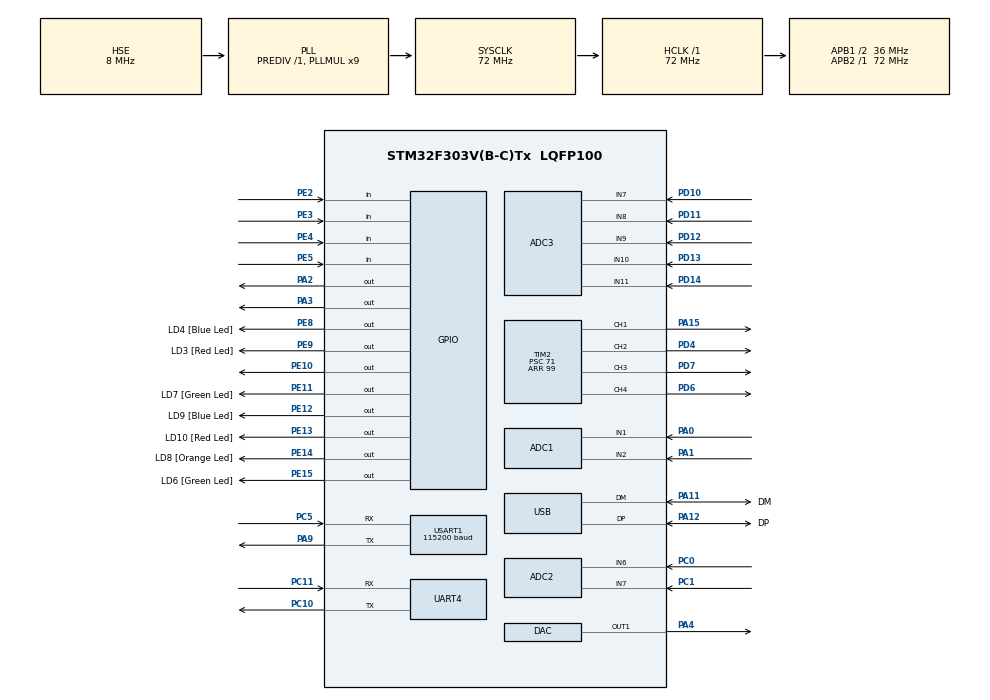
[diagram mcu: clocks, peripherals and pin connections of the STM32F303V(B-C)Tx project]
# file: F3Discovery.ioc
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ADC1.Channel-0\#ChannelRegularConversion=ADC_CHANNEL_1
ADC1.Channel-3\#ChannelRegularConversion=ADC_CHANNEL_2
ADC1.ClockPrescaler=ADC_CLOCK_ASYNC_DIV1
ADC1.ContinuousConvMode=DISABLE
ADC1.DMAContinuousRequests=DISABLE
ADC1.EOCSelection=ADC_EOC_SEQ_CONV
ADC1.EnableAnalogWatchDog3=false
ADC1.EnableInjectedConversion=ENABLE
ADC1.ExternalTrigConv=ADC_EXTERNALTRIGCONV_T8_TRGO
ADC1.MonitoredBy-3\#ChannelRegularConversion=__NULL
ADC1.NbrOfConversion=2
ADC1.NbrOfConversionFlag=1
ADC1.Offset-0\#ChannelRegularConversion=0
ADC1.Offset-3\#ChannelRegularConversion=0
ADC1.OffsetNumber-0\#ChannelRegularConversion=ADC_OFFSET_NONE
ADC1.OffsetNumber-3\#ChannelRegularConversion=ADC_OFFSET_NONE
ADC1.Rank-0\#ChannelRegularConversion=1
ADC1.Rank-3\#ChannelRegularConversion=2
ADC1.SamplingTime-0\#ChannelRegularConversion=ADC_SAMPLETIME_61CYCLES_5
ADC1.SamplingTime-3\#ChannelRegularConversion=ADC_SAMPLETIME_61CYCLES_5
ADC1.master=1
ADC2.Channel-0\#ChannelRegularConversion=ADC_CHANNEL_6
ADC2.Channel-1\#ChannelRegularConversion=ADC_CHANNEL_7
ADC2.ExternalTrigConv=ADC_EXTERNALTRIGCONV_T6_TRGO
ADC2.NbrOfConversion=2
ADC2.NbrOfConversionFlag=1
ADC2.Offset-0\#ChannelRegularConversion=0
ADC2.Offset-1\#ChannelRegularConversion=0
ADC2.OffsetNumber-0\#ChannelRegularConversion=ADC_OFFSET_NONE
ADC2.OffsetNumber-1\#ChannelRegularConversion=ADC_OFFSET_NONE
ADC2.Rank-0\#ChannelRegularConversion=1
ADC2.Rank-1\#ChannelRegularConversion=2
ADC2.SamplingTime-0\#ChannelRegularConversion=ADC_SAMPLETIME_61CYCLES_5
ADC2.SamplingTime-1\#ChannelRegularConversion=ADC_SAMPLETIME_61CYCLES_5
ADC2.SamplingTimeOPAMP-1\#ChannelRegularConversion=ADC_SAMPLETIME_7CYCLES_5
ADC3.Channel-0\#ChannelRegularConversion=ADC_CHANNEL_7
ADC3.Channel-1\#ChannelRegularConversion=ADC_CHANNEL_8
ADC3.Channel-2\#ChannelRegularConversion=ADC_CHANNEL_9
ADC3.Channel-3\#ChannelRegularConversion=ADC_CHANNEL_10
ADC3.Channel-4\#ChannelRegularConversion=ADC_CHANNEL_11
ADC3.ContinuousConvMode=ENABLE
ADC3.ExternalTrigConv=ADC_SOFTWARE_START
ADC3.NbrOfConversion=5
ADC3.NbrOfConversionFlag=1
ADC3.Offset-0\#ChannelRegularConversion=0
ADC3.Offset-1\#ChannelRegularConversion=0
ADC3.Offset-2\#ChannelRegularConversion=0
ADC3.Offset-3\#ChannelRegularConversion=0
ADC3.Offset-4\#ChannelRegularConversion=0
ADC3.OffsetNumber-0\#ChannelRegularConversion=ADC_OFFSET_NONE
ADC3.OffsetNumber-1\#ChannelRegularConversion=ADC_OFFSET_NONE
ADC3.OffsetNumber-2\#ChannelRegularConversion=ADC_OFFSET_NONE
ADC3.OffsetNumber-3\#ChannelRegularConversion=ADC_OFFSET_NONE
ADC3.OffsetNumber-4\#ChannelRegularConversion=ADC_OFFSET_NONE
ADC3.Rank-0\#ChannelRegularConversion=1
ADC3.Rank-1\#ChannelRegularConversion=2
ADC3.Rank-2\#ChannelRegularConversion=3
ADC3.Rank-3\#ChannelRegularConversion=4
ADC3.Rank-4\#ChannelRegularConversion=5
ADC3.SamplingTime-0\#ChannelRegularConversion=ADC_SAMPLETIME_181CYCLES_5
ADC3.SamplingTime-1\#ChannelRegularConversion=ADC_SAMPLETIME_181CYCLES_5
ADC3.SamplingTime-2\#ChannelRegularConversion=ADC_SAMPLETIME_181CYCLES_5
ADC3.SamplingTime-3\#ChannelRegularConversion=ADC_SAMPLETIME_181CYCLES_5
ADC3.SamplingTime-4\#ChannelRegularConversion=ADC_SAMPLETIME_181CYCLES_5
ADC3.SamplingTimeOPAMP-2\#ChannelRegularConversion=ADC_SAMPLETIME_61CYCLES_5
ADC3.SamplingTimeOPAMP-3\#ChannelRegularConversion=ADC_SAMPLETIME_61CYCLES_5
ADC3.SamplingTimeOPAMP-4\#ChannelRegularConversion=ADC_SAMPLETIME_61CYCLES_5
ADC3.master=1
DAC.DAC_Trigger=DAC_TRIGGER_T3_TRGO
Dma.ADC1.0.Direction=DMA_PERIPH_TO_MEMORY
Dma.ADC1.0.Instance=DMA1_Channel1
Dma.ADC1.0.MemDataAlignment=DMA_MDATAALIGN_WORD
Dma.ADC1.0.MemInc=DMA_MINC_ENABLE
Dma.ADC1.0.Mode=DMA_NORMAL
Dma.ADC1.0.PeriphDataAlignment=DMA_PDATAALIGN_WORD
Dma.ADC1.0.PeriphInc=DMA_PINC_DISABLE
Dma.ADC1.0.Priority=DMA_PRIORITY_VERY_HIGH
Dma.ADC2.2.Direction=DMA_PERIPH_TO_MEMORY
Dma.ADC2.2.Instance=DMA2_Channel1
Dma.ADC2.2.MemDataAlignment=DMA_MDATAALIGN_WORD
Dma.ADC2.2.MemInc=DMA_MINC_ENABLE
Dma.ADC2.2.Mode=DMA_NORMAL
Dma.ADC2.2.PeriphDataAlignment=DMA_PDATAALIGN_WORD
Dma.ADC2.2.PeriphInc=DMA_PINC_DISABLE
Dma.ADC2.2.Priority=DMA_PRIORITY_VERY_HIGH
Dma.ADC3.1.Direction=DMA_PERIPH_TO_MEMORY
Dma.ADC3.1.Instance=DMA2_Channel5
Dma.ADC3.1.MemDataAlignment=DMA_MDATAALIGN_WORD
Dma.ADC3.1.MemInc=DMA_MINC_ENABLE
Dma.ADC3.1.Mode=DMA_CIRCULAR
Dma.ADC3.1.PeriphDataAlignment=DMA_PDATAALIGN_WORD
Dma.ADC3.1.PeriphInc=DMA_PINC_DISABLE
Dma.ADC3.1.Priority=DMA_PRIORITY_HIGH
Dma.DAC_CH1.3.Direction=DMA_MEMORY_TO_PERIPH
Dma.DAC_CH1.3.Instance=DMA1_Channel3
Dma.DAC_CH1.3.MemDataAlignment=DMA_MDATAALIGN_WORD
Dma.DAC_CH1.3.MemInc=DMA_MINC_ENABLE
Dma.DAC_CH1.3.Mode=DMA_CIRCULAR
Dma.DAC_CH1.3.PeriphDataAlignment=DMA_PDATAALIGN_WORD
Dma.DAC_CH1.3.PeriphInc=DMA_PINC_DISABLE
Dma.DAC_CH1.3.Priority=DMA_PRIORITY_HIGH
Dma.Request0=ADC1
Dma.Request1=ADC3
Dma.Request2=ADC2
Dma.Request3=DAC_CH1
Mcu.Family=STM32F3
Mcu.Name=STM32F303V(B-C)Tx
Mcu.Package=LQFP100
NVIC.ADC3_IRQn=true\:0\:0\:false\:false\:true\:true\:true
NVIC.DMA1_Channel1_IRQn=true\:0\:0\:false\:false\:true\:false\:true
NVIC.DMA1_Channel3_IRQn=true\:0\:0\:false\:false\:true\:false\:true
NVIC.DMA2_Channel1_IRQn=true\:0\:0\:false\:false\:true\:false\:true
NVIC.DMA2_Channel5_IRQn=true\:0\:0\:false\:false\:true\:false\:true
NVIC.PriorityGroup=NVIC_PRIORITYGROUP_0
NVIC.TIM1_UP_TIM16_IRQn=true\:0\:0\:false\:false\:true\:true\:true
NVIC.TIM2_IRQn=true\:0\:0\:false\:false\:true\:true\:true
NVIC.TIM3_IRQn=true\:0\:0\:false\:false\:true\:true\:true
NVIC.TIM4_IRQn=true\:0\:0\:false\:false\:true\:true\:true
NVIC.TIM8_BRK_IRQn=true\:0\:0\:false\:false\:true\:true\:true
NVIC.TIM8_CC_IRQn=true\:0\:0\:false\:false\:true\:true\:true
NVIC.TIM8_TRG_COM_IRQn=true\:0\:0\:false\:false\:true\:true\:true
NVIC.TIM8_UP_IRQn=true\:0\:0\:false\:false\:true\:true\:true
NVIC.UART4_IRQn=true\:0\:0\:false\:false\:true\:true\:true
NVIC.USART1_IRQn=true\:0\:0\:false\:false\:true\:true\:true
NVIC.USB_LP_CAN_RX0_IRQn=true\:0\:0\:false\:false\:true\:false\:true
PA0.Mode=IN1-Single-Ended
PA0.Signal=ADC1_IN1
PA1.Mode=IN2-Single-Ended
PA1.Signal=ADC1_IN2
PA11.GPIO_Label=DM
PA11.Mode=Device
PA11.Signal=USB_DM
PA12.GPIO_Label=DP
PA12.Mode=Device
PA12.Signal=USB_DP
PA15.Signal=S_TIM2_CH1_ETR
PA2.Signal=GPIO_Output
PA3.Signal=GPIO_Output
PA4.Signal=COMP_DAC1_group
PA9.Mode=Asynchronous
PA9.Signal=USART1_TX
PC0.Signal=ADCx_IN6
PC1.Signal=ADCx_IN7
PC10.Mode=Asynchronous
PC10.Signal=UART4_TX
PC11.Mode=Asynchronous
PC11.Signal=UART4_RX
PC5.Mode=Asynchronous
PC5.Signal=USART1_RX
PD10.Signal=ADCx_IN7P
PD11.Signal=ADCx_IN8P
PD12.Signal=ADCx_IN9P
PD13.Signal=ADCx_IN10P
PD14.Signal=ADCx_IN11
PD4.Signal=S_TIM2_CH2
PD6.Signal=S_TIM2_CH4
PD7.Signal=S_TIM2_CH3
PE10.Signal=GPIO_Output
PE11.GPIO_Label=LD7 [Green Led]
PE11.GPIO_ModeDefaultOutputPP=GPIO_MODE_OUTPUT_PP
PE11.GPIO_PuPd=GPIO_NOPULL
PE11.GPIO_Speed=GPIO_SPEED_FREQ_LOW
PE11.Signal=GPIO_Output
PE12.GPIO_Label=LD9 [Blue Led]
PE12.GPIO_ModeDefaultOutputPP=GPIO_MODE_OUTPUT_PP
PE12.GPIO_PuPd=GPIO_NOPULL
PE12.GPIO_Speed=GPIO_SPEED_FREQ_LOW
PE12.Signal=GPIO_Output
PE13.GPIO_Label=LD10 [Red Led]
PE13.GPIO_ModeDefaultOutputPP=GPIO_MODE_OUTPUT_PP
PE13.GPIO_PuPd=GPIO_NOPULL
PE13.GPIO_Speed=GPIO_SPEED_FREQ_LOW
PE13.Signal=GPIO_Output
PE14.GPIO_Label=LD8 [Orange Led]
PE14.GPIO_ModeDefaultOutputPP=GPIO_MODE_OUTPUT_PP
PE14.GPIO_PuPd=GPIO_NOPULL
PE14.GPIO_Speed=GPIO_SPEED_FREQ_LOW
PE14.Signal=GPIO_Output
PE15.GPIO_Label=LD6 [Green Led]
PE15.GPIO_ModeDefaultOutputPP=GPIO_MODE_OUTPUT_PP
PE15.GPIO_PuPd=GPIO_NOPULL
PE15.GPIO_Speed=GPIO_SPEED_FREQ_LOW
PE15.Signal=GPIO_Output
PE2.Signal=GPIO_Input
PE3.Signal=GPIO_Input
PE4.Signal=GPIO_Input
PE5.Signal=GPIO_Input
PE8.GPIO_Label=LD4 [Blue Led]
PE8.GPIO_ModeDefaultOutputPP=GPIO_MODE_OUTPUT_PP
PE8.GPIO_PuPd=GPIO_NOPULL
PE8.GPIO_Speed=GPIO_SPEED_FREQ_LOW
PE8.Signal=GPIO_Output
PE9.GPIO_Label=LD3 [Red Led]
PE9.GPIO_ModeDefaultOutputPP=GPIO_MODE_OUTPUT_PP
PE9.GPIO_PuPd=GPIO_NOPULL
PE9.GPIO_Speed=GPIO_SPEED_FREQ_LOW
PE9.Signal=GPIO_Output
PF0-OSC_IN.GPIO_Label=OSC_IN
PF0-OSC_IN.Mode=HSE-External-Oscillator
PF0-OSC_IN.Signal=RCC_OSC_IN
PF1-OSC_OUT.GPIO_Label=OSC_OUT
PF1-OSC_OUT.Mode=HSE-External-Oscillator
PF1-OSC_OUT.Signal=RCC_OSC_OUT
ProjectManager.HeapSize=0x2000
ProjectManager.StackSize=0x4000
ProjectManager.TargetToolchain=MDK-ARM V5
RCC.AHBFreq_Value=72000000
RCC.APB1CLKDivider=RCC_HCLK_DIV2
RCC.APB1Freq_Value=36000000
RCC.APB1TimFreq_Value=72000000
RCC.APB2Freq_Value=72000000
RCC.APB2TimFreq_Value=72000000
RCC.CortexFreq_Value=72000000
RCC.HCLKFreq_Value=72000000
RCC.HSE_VALUE=8000000
RCC.HSI_VALUE=8000000
RCC.LSE_VALUE=32768
RCC.PLLMUL=RCC_PLL_MUL9
RCC.PRESCALERUSB=RCC_USBCLKSOURCE_PLL_DIV1_5
RCC.SYSCLKFreq_VALUE=72000000
RCC.SYSCLKSourceVirtual=RCC_SYSCLKSOURCE_PLLCLK
RCC.USBFreq_Value=48000000
SH.ADCx_IN10P.0=ADC3_IN10,IN10-Single-Ended
SH.ADCx_IN11.0=ADC3_IN11,IN11-Single-Ended
SH.ADCx_IN6.0=ADC2_IN6,IN6-Single-Ended
SH.ADCx_IN7.0=ADC2_IN7,IN7-Single-Ended
SH.ADCx_IN7P.0=ADC3_IN7,IN7-Single-Ended
SH.ADCx_IN8P.0=ADC3_IN8,IN8-Single-Ended
SH.ADCx_IN9P.0=ADC3_IN9,IN9-Single-Ended
SH.COMP_DAC1_group.0=DAC_OUT1,DAC_OUT1
SH.S_TIM2_CH1_ETR.0=TIM2_CH1,PWM Generation1 CH1
SH.S_TIM2_CH2.0=TIM2_CH2,PWM Generation2 CH2
SH.S_TIM2_CH3.0=TIM2_CH3,PWM Generation3 CH3
SH.S_TIM2_CH4.0=TIM2_CH4,PWM Generation4 CH4
TIM1.Period=999
TIM1.Prescaler=719
TIM2.Channel-PWM\ Generation1\ CH1=TIM_CHANNEL_1
TIM2.Channel-PWM\ Generation2\ CH2=TIM_CHANNEL_2
TIM2.Channel-PWM\ Generation3\ CH3=TIM_CHANNEL_3
TIM2.Channel-PWM\ Generation4\ CH4=TIM_CHANNEL_4
TIM2.Period=99
TIM2.Prescaler=71
TIM3.Period=9999
TIM3.Prescaler=7199
TIM3.TIM_MasterOutputTrigger=TIM_TRGO_UPDATE
TIM3.TIM_MasterSlaveMode=TIM_MASTERSLAVEMODE_DISABLE
TIM4.Period=19999
TIM4.Prescaler=7199
TIM6.Period=9999
TIM6.Prescaler=7199
TIM6.TIM_MasterOutputTrigger=TIM_TRGO_UPDATE
TIM7.Period=99
TIM7.Prescaler=71
TIM7.TIM_MasterOutputTrigger=TIM_TRGO_UPDATE
TIM8.AutoReloadPreload=TIM_AUTORELOAD_PRELOAD_ENABLE
TIM8.Period=9999
TIM8.Prescaler=7199
TIM8.TIM_MasterOutputTrigger=TIM_TRGO_UPDATE
TIM8.TIM_MasterOutputTrigger2=TIM_TRGO2_UPDATE
USART1.BaudRate=115200
USART1.VirtualMode-Asynchronous=VM_ASYNC
USB_DEVICE.CLASS_NAME_FS=CDC
USB_DEVICE.VirtualMode=Cdc
USB_DEVICE.VirtualModeFS=Cdc_FS
VP_TIM1_VS_ClockSourceINT.Mode=Internal
VP_TIM2_VS_ClockSourceINT.Mode=Internal
VP_TIM3_VS_ClockSourceINT.Mode=Internal
VP_TIM4_VS_ClockSourceINT.Mode=Internal
VP_TIM6_VS_ClockSourceINT.Mode=Enable_Timer
VP_TIM7_VS_ClockSourceINT.Mode=Enable_Timer
VP_TIM8_VS_ClockSourceINT.Mode=Internal
VP_USB_DEVICE_VS_USB_DEVICE_CDC_FS.Mode=CDC_FS
board=STM32F3DISCOVERY

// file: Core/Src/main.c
/* USER CODE BEGIN Header */
/**
  ******************************************************************************
  * @file           : main.c
  * @brief          : Main program body
  ******************************************************************************
  * @attention
  *
  * <h2><center>&copy; Copyright (c) 2021 STMicroelectronics.
  * All rights reserved.</center></h2>
  *
  * This software component is licensed by ST under BSD 3-Clause license,
  * the "License"; You may not use this file except in compliance with the
  * License. You may obtain a copy of the License at:
  *                        opensource.org/licenses/BSD-3-Clause
  *
  ******************************************************************************
  */
/* USER CODE END Header */
#include "main.h"
#include "adc.h"
#include "dac.h"
#include "dma.h"
#include "tim.h"
#include "usart.h"
#include "usb_device.h"
#include "gpio.h"

/* USER CODE BEGIN Includes */
#include "measure.h"
#include "digitalToAnalog.h"
#include "analogToDigital.h"
#include "usbd_cdc_if.h"
#include "math.h"

/* USER CODE END Includes */

void SystemClock_Config(void);

/* USER CODE BEGIN 0 */
#define ESP_uart huart4
uint8_t blink = 0;
uint32_t byte[4];
uint32_t tempAshk = 100;
int blinkNum=0,newTest = 0,tempADC1 = 0,tempADC2 = 0,stopMode,test1=0,test2=0,lastTemp=0;
int packetNumberWifi=0,packetNumberUsb=0,wifiDataLength=0,usbDataLength=0; //transmit vars
int writingSendDataIndex = 0,readingSendDataIndex = 0;
struct SendData sendData[2];
char wifiData[30],wifiChar;
enum ConnectionState{usb, wifi, notConnected};
enum ConnectionState connectionState = notConnected;
enum DataMode{noData,analog,digital,connection,resistor,capacitor,diode,current,dac,voltageOut};
enum DataMode dataMode = noData;
int ADTime,ADPacketPerSend;
int adcMeasureReady = 0 , adcAnalogReady = 0;

///analog vars
int analogFreq[4];
int analogSamples[4],analogSampleFreq[4],analogSampleFreqMax[2];
int analogBytes[4],analogBytesMax[2];
int analogDataReadyCh1=0,analogDataReadyCh2=0,analogDataNumberADC1=0,analogDataNumberADC2=0,analogOddNumberADC1=0,analogOddNumberADC2=0;
uint32_t analogByteADC1[1001],analogByteADC2[1001];

///digital vars
int digitalFreq[4],digitalFreqMax,digitalBytes[4],digitalBytesMax;
int digitalDataReady = 0;
uint8_t digitalByteCH1[1001],digitalByteCH2[1001],digitalByteCH3[1001],digitalByteCH4[1001];
int digitalIndex = 0;

//uint32_t temp[2] = {4095,0};

//
//led blink
void ledBlink(){
	if (blink == 0){
		HAL_GPIO_WritePin(GPIOE, GPIO_PIN_11|GPIO_PIN_15, GPIO_PIN_RESET);
		HAL_GPIO_TogglePin(GPIOE, GPIO_PIN_8);
		HAL_GPIO_TogglePin(GPIOE, GPIO_PIN_12);
	}
	if (blink == 1){
		HAL_GPIO_TogglePin(GPIOE, GPIO_PIN_8);
		HAL_GPIO_TogglePin(GPIOE, GPIO_PIN_12);
		HAL_GPIO_TogglePin(GPIOE, GPIO_PIN_9);
		HAL_GPIO_TogglePin(GPIOE, GPIO_PIN_13);
	}
	if (blink == 2){
		HAL_GPIO_TogglePin(GPIOE, GPIO_PIN_10);
		HAL_GPIO_TogglePin(GPIOE, GPIO_PIN_14);
		HAL_GPIO_TogglePin(GPIOE, GPIO_PIN_9);
		HAL_GPIO_TogglePin(GPIOE, GPIO_PIN_13);
	}
	if (blink == 3){
		HAL_GPIO_TogglePin(GPIOE, GPIO_PIN_10);
		HAL_GPIO_TogglePin(GPIOE, GPIO_PIN_14);
		HAL_GPIO_TogglePin(GPIOE, GPIO_PIN_11);
		HAL_GPIO_TogglePin(GPIOE, GPIO_PIN_15);
		blink = -1;
	}

	blink++;
}
//
//calculate analog and digital number of bytes per packet to be sent
void calcAnalogSampleFreq(){
	for (int i=0 ; i<4 ; i++){
		if (connectionState == usb){
			if(analogFreq[i] > 2500 && analogFreq[i] < 20001){
				analogSamples[i] = 10;
			}
			if(analogFreq[i] > 1000 && analogFreq[i] < 2501){
				analogSamples[i] = 20;
			}
			if(analogFreq[i] > 250 && analogFreq[i] < 1001){
				analogSamples[i] = 40;
			}
			if(analogFreq[i] < 251){
				analogSamples[i] = 200;
			}
			analogSampleFreq[i] = analogSamples[i]*analogFreq[i];
			analogBytes[i] = analogSampleFreq[i]/200;
			analogSampleFreq[i] = analogBytes[i]*200;
		}
		if (connectionState == wifi){
			if(analogFreq[i] > 25 && analogFreq[i] < 201){
				analogSamples[i] = 10;
			}
			if(analogFreq[i] < 26){
				analogSamples[i] = 20;
			}
			analogSampleFreq[i] = analogSamples[i]*analogFreq[i];
			analogBytes[i] = analogSampleFreq[i]/20;
			analogSampleFreq[i] = analogBytes[i]*20;
		}
	}
}
//
//set analog and digital timer event time
void setADtimer(TIM_HandleTypeDef *htim,int freq){
	uint32_t period,systemFrequency = 72000000;
	if (freq < 5000){
		htim->Instance->PSC = 1439;
		systemFrequency = 50000;
		period = systemFrequency / freq;
		htim->Instance->ARR = period-1;
	}
	else {
		htim->Instance->PSC = 0;
		period = systemFrequency / freq;
		htim->Instance->ARR = period-1;
	}
}
//
//usb and wifi transmit and led blink
void HAL_TIM_PeriodElapsedCallback(TIM_HandleTypeDef *htim){
	if (htim == &htim1) {

		if (blinkNum > 99){
				ledBlink();
				blinkNum = 0;
		}
		blinkNum++;

		///usb send
		if (connectionState == usb && sendData[readingSendDataIndex].readySend == 1){
				sendData[readingSendDataIndex].bytes[1] = packetNumberUsb+'0';
				CDC_Transmit_FS(sendData[readingSendDataIndex].bytes , sendData[readingSendDataIndex].length);
				packetNumberUsb++;
				packetNumberUsb = packetNumberUsb%10;
				sendData[readingSendDataIndex].readySend = 0;
				readingSendDataIndex++;
				readingSendDataIndex %= 2;
		}
		///wifi send
		if (blinkNum%10 == 0){
			if (connectionState == wifi && sendData[readingSendDataIndex].readySend == 1){
				sendData[readingSendDataIndex].bytes[1] = packetNumberWifi+'0';
				HAL_UART_Transmit_IT(&huart4,sendData[readingSendDataIndex].bytes , sendData[readingSendDataIndex].length);
				packetNumberWifi++;
				packetNumberWifi = packetNumberWifi%10;
				sendData[readingSendDataIndex].readySend = 0;
				readingSendDataIndex++;
				readingSendDataIndex %= 2;
			}
		}
	}
	if (htim == &htim8) {
		if(digitalDataReady == 0){
			digitalByteCH1[digitalIndex] = HAL_GPIO_ReadPin(GPIOE,GPIO_PIN_2);
			digitalByteCH2[digitalIndex] = HAL_GPIO_ReadPin(GPIOE,GPIO_PIN_3);
			digitalByteCH3[digitalIndex] = HAL_GPIO_ReadPin(GPIOE,GPIO_PIN_4);
			digitalByteCH4[digitalIndex] = HAL_GPIO_ReadPin(GPIOE,GPIO_PIN_5);
			digitalIndex++;
			if(digitalIndex == digitalBytesMax){
				digitalIndex = 0;
				digitalDataReady = 1;
			}
		}
		newTest++;
	}
	if (htim == &htim3) {
		lastTemp++;
	}
}

//
//incoming data handle
void handleIncomingData(char *data , uint32_t len , enum DataMode mode){

	switch(mode){
		case noData : {
			stopMode = data[2];
			if(stopMode == 1){ 	///voltage out1
				voltageOutStop(0);
			}
			else if(stopMode == 2){ ///voltage out2
				voltageOutStop(1);
			}
			else if(stopMode == 3){ ///dac out1
				dacStop(0);
			}
			else if(stopMode == 4){///dac out2
				dacStop(1);
			}
			else if(stopMode == 5){ ///analog
				HAL_TIM_Base_Stop_IT(&htim6);
				HAL_TIM_Base_Stop_IT(&htim8);
				analogDataReadyCh1=0;
				analogDataReadyCh2=0;
				analogDataNumberADC1=0;
				analogDataNumberADC2=0;
			}
			else if(stopMode == 6){ ///digital
				HAL_TIM_Base_Stop_IT(&htim8);
				digitalDataReady = 0;
				digitalIndex = 0;
			}
			writingSendDataIndex=0;
			readingSendDataIndex=0;
			sendData[0].readySend=0;
			sendData[1].readySend=0;
			dataMode = noData;
			break;
		}
		case analog : {
			union Convert convert;

			convert.char_temp[0] = data[2];
			convert.char_temp[1] = data[3];
			convert.char_temp[2] = data[4];
			convert.char_temp[3] = data[5];
			analogFreq[0] = convert.integer4_temp;

			convert.char_temp[0] = data[6];
			convert.char_temp[1] = data[7];
			convert.char_temp[2] = data[8];
			convert.char_temp[3] = data[9];
			analogFreq[1] = convert.integer4_temp;

			convert.char_temp[0] = data[10];
			convert.char_temp[1] = data[11];
			convert.char_temp[2] = data[12];
			convert.char_temp[3] = data[13];
			analogFreq[2] = convert.integer4_temp;

			convert.char_temp[0] = data[14];
			convert.char_temp[1] = data[15];
			convert.char_temp[2] = data[16];
			convert.char_temp[3] = data[17];
			analogFreq[3] = convert.integer4_temp;

			///calculate appropriate sample and frequencies*samples that is timer trigger freq
			calcAnalogSampleFreq();

			if(analogSampleFreq[0] > analogSampleFreq[1]){
				analogSampleFreqMax[0] = analogSampleFreq[0];
				analogBytesMax[0] = analogBytes[0];
			}
			else{
				analogSampleFreqMax[0] = analogSampleFreq[1];
				analogBytesMax[0] = analogBytes[1];
			}

			if(analogSampleFreq[2] > analogSampleFreq[3]){
				analogSampleFreqMax[1] = analogSampleFreq[2];
				analogBytesMax[1] = analogBytes[2];
			}
			else{
				analogSampleFreqMax[1] = analogSampleFreq[3];
				analogBytesMax[1] = analogBytes[3];
			}

			setADtimer(&htim8,analogSampleFreqMax[0]);
			setADtimer(&htim6,analogSampleFreqMax[1]);

			HAL_TIM_Base_Start(&htim8);
			HAL_TIM_Base_Start(&htim6);

			if(analogBytesMax[0]%2 == 0){
					HAL_ADC_Start_DMA(&hadc1, analogByteADC1, analogBytesMax[0]);
			}
			else if(analogBytesMax[0]%2 == 1){
				if(analogOddNumberADC1%2 == 0)
					HAL_ADC_Start_DMA(&hadc1, analogByteADC1, analogBytesMax[0]+1);
				else
					HAL_ADC_Start_DMA(&hadc1, analogByteADC1, analogBytesMax[0]-1);
			analogOddNumberADC1++;
			analogOddNumberADC1%=2;
			}

			if(analogBytesMax[1]%2 == 0){
					HAL_ADC_Start_DMA(&hadc2, analogByteADC2, analogBytesMax[1]);
			}
			else if(analogBytesMax[1]%2 == 1){
				if(analogOddNumberADC2%2 == 0)
					HAL_ADC_Start_DMA(&hadc2, analogByteADC2, analogBytesMax[1]+1);
				else
					HAL_ADC_Start_DMA(&hadc2, analogByteADC2, analogBytesMax[1]-1);
			analogOddNumberADC2++;
			analogOddNumberADC2%=2;
			}

			dataMode = analog;
			break;
		}
		case digital : {
			union Convert convert;

			convert.char_temp[0] = data[2];
			convert.char_temp[1] = data[3];
			convert.char_temp[2] = data[4];
			convert.char_temp[3] = data[5];
			digitalFreq[0] = convert.integer4_temp;

			convert.char_temp[0] = data[6];
			convert.char_temp[1] = data[7];
			convert.char_temp[2] = data[8];
			convert.char_temp[3] = data[9];
			digitalFreq[1] = convert.integer4_temp;

			convert.char_temp[0] = data[10];
			convert.char_temp[1] = data[11];
			convert.char_temp[2] = data[12];
			convert.char_temp[3] = data[13];
			digitalFreq[2] = convert.integer4_temp;

			convert.char_temp[0] = data[14];
			convert.char_temp[1] = data[15];
			convert.char_temp[2] = data[16];
			convert.char_temp[3] = data[17];
			digitalFreq[3] = convert.integer4_temp;

			///Find max freq digital and bytes and round freq
			digitalFreqMax = 0;
			for (int i=0 ; i < 4 ; i++){
				if (connectionState == wifi){
					digitalBytes[i] = digitalFreq[i]/10;
					digitalFreq[i] = digitalBytes[i]*10;
				}
				else if(connectionState == usb){
					digitalBytes[i] = digitalFreq[i]/100;
					digitalFreq[i] = digitalBytes[i]*100;
				}
				if (digitalFreqMax < digitalFreq[i]){
					digitalFreqMax = digitalFreq[i];
					digitalBytesMax = digitalBytes[i];
				}
			}

			setADtimer(&htim8,digitalFreqMax);

			HAL_TIM_Base_Start_IT(&htim8);

			dataMode = digital;
			break;
		}
		case connection : {
			dataMode = connection;
			break;
		}
		case resistor : {
			dataMode = resistor;
			uint8_t channel = data[2];
			resistorInit(channel);
			break;
		}
		case capacitor : {
			uint8_t channel = data[2];
			capacitorInit(channel);
			dataMode = capacitor;
			break;
		}
		case diode : {
			dataMode = diode;
			break;
		}
		case current : {
			dataMode = current;
			break;
		}
		case dac : {
			uint8_t channel = data[2];
			uint8_t waveType = data[3];
			float freq,pp_voltage,shift;

			union Convert convert;

			convert.char_temp[0] = data[4];
			convert.char_temp[1] = data[5];
			convert.char_temp[2] = data[6];
			convert.char_temp[3] = data[7];
			pp_voltage = convert.float_temp;

			convert.char_temp[0] = data[8];
			convert.char_temp[1] = data[9];
			convert.char_temp[2] = data[10];
			convert.char_temp[3] = data[11];
			shift = convert.float_temp;

			convert.char_temp[0] = data[12];
			convert.char_temp[1] = data[13];
			convert.char_temp[2] = data[14];
			convert.char_temp[3] = data[15];
			freq = convert.float_temp;

			dacInit(shift,freq,pp_voltage,waveType,channel);

			break;
		}
		case voltageOut : {
			uint8_t channel = data[2];
			float voltage;

			union Convert convert;

			convert.char_temp[0] = data[3];
			convert.char_temp[1] = data[4];
			convert.char_temp[2] = data[5];
			convert.char_temp[3] = data[6];
			voltage = convert.float_temp;

			voltageOutInit(voltage , channel);
			break;
		}
	}
}
//
//incoming data check
void checkForIncomingData(char *data , uint32_t len , enum ConnectionState state){
//////wifi receive data
	if (state == wifi){
		if(wifiDataLength == 3 && data[0] == 'B' && data[1] == 'y' && data[2] == 'e'){
			connectionState = notConnected;
			dataMode = noData;
			writingSendDataIndex=0;
			readingSendDataIndex=0;
			sendData[0].readySend=0;
			sendData[1].readySend=0;
			wifiDataLength = 0;
			packetNumberWifi = 0;
		}
		else if(wifiDataLength == 6 && data[0] == 's' && data[1] == 's' && data[3] == 'e' && data[4] == 'n' && data[5] == 'd'){
			handleIncomingData(data,len,noData);
		  wifiDataLength = 0;
			packetNumberWifi = 0;
		}
		else if(wifiDataLength == 5 && data[0] == 'H' && data[1] == 'e' && data[2] == 'l' && data[3] == 'l' && data[4] == 'o'){
			connectionState = wifi;
			wifiDataLength = 0;
			packetNumberWifi = 0;
		}
		else if(wifiDataLength == 6 && data[0] == 's' && data[1] == 'm' && data[2] == 'd' && data[3] == 'e' && data[4] == 'n' && data[5] == 'd'){
			handleIncomingData(data,len,diode);
		  wifiDataLength = 0;
			packetNumberWifi = 0;
		}
		else if(wifiDataLength == 6 && data[0] == 's' && data[1] == 'm' && data[2] == 'c' && data[3] == 'e' && data[4] == 'n' && data[5] == 'd'){
			handleIncomingData(data,len,connection);
		  wifiDataLength = 0;
			packetNumberWifi = 0;
		}
		else if(wifiDataLength == 5 && data[0] == 's' && data[1] == 'i' && data[2] == 'e' && data[3] == 'n' && data[4] == 'd'){
			handleIncomingData(data,len,current);
		  wifiDataLength = 0;
			packetNumberWifi = 0;
		}
		else if(wifiDataLength == 6 && data[0] == 's' && data[1] == 'r' && data[3] == 'e' && data[4] == 'n' && data[5] == 'd'){
			handleIncomingData(data,len,resistor);
		  wifiDataLength = 0;
			packetNumberWifi = 0;
		}
		else if(wifiDataLength == 6 && data[0] == 's' && data[1] == 'c' && data[3] == 'e' && data[4] == 'n' && data[5] == 'd'){
			handleIncomingData(data,len,capacitor);
		  wifiDataLength = 0;
			packetNumberWifi = 0;
		}
		else if(wifiDataLength == 21 && data[0] == 's' && data[1] == 'a' && data[18] == 'e' && data[19] == 'n' && data[20] == 'd'){
			handleIncomingData(data,len,analog);
		  wifiDataLength = 0;
			packetNumberWifi = 0;
		}
		else if(wifiDataLength == 21 && data[0] == 's' && data[1] == 'd' && data[18] == 'e' && data[19] == 'n' && data[20] == 'd'){
			handleIncomingData(data,len,digital);
		  wifiDataLength = 0;
			packetNumberWifi = 0;
		}
		else if(wifiDataLength == 10 && data[0] == 's' && data[1] == 'v' && data[7] == 'e' && data[8] == 'n' && data[9] == 'd'){
			handleIncomingData(data,len,voltageOut);
		  wifiDataLength = 0;
			packetNumberWifi = 0;
		}
		else if(wifiDataLength == 19&& data[0] == 's' && data[1] == 'w' && data[16] == 'e' && data[17] == 'n' && data[18] == 'd'){
			handleIncomingData(data,len,dac);
		  wifiDataLength = 0;
			packetNumberWifi = 0;
		}
		else if(data[0] != 'H' && data[0] != 'B' && data[0] != 's'){
			wifiDataLength = 0;
		}
		else if(wifiDataLength > 20){
			wifiDataLength = 0;
		}
	}

//////usb receive data
	else if(state == usb){
		if(data[0] == 'H' && data[1] == 'e' && data[2] == 'l' && data[3] == 'l' && data[4] == 'o'){
				CDC_Transmit_FS("received" , 8);
				connectionState = usb;
		}
		else if(data[0] == 'B' && data[1] == 'y' && data[2] == 'e'){
			packetNumberUsb = 0;
		}
		else if(len == 6 && data[0] == 's' && data[1] == 's' && data[3] == 'e' && data[4] == 'n' && data[5] == 'd'){
			handleIncomingData(data,len,noData);
		  packetNumberUsb = 0;
		}
		else if(len == 6 && data[0] == 's' && data[1] == 'm' && data[2] == 'd' && data[3] == 'e' && data[4] == 'n' && data[5] == 'd'){
			handleIncomingData(data,len,diode);
		  packetNumberUsb = 0;
		}
		else if(len == 6 && data[0] == 's' && data[1] == 'm' && data[2] == 'c' && data[3] == 'e' && data[4] == 'n' && data[5] == 'd'){
			handleIncomingData(data,len,connection);
		  packetNumberUsb = 0;
		}
		else if(len == 5 && data[0] == 's' && data[1] == 'i' && data[2] == 'e' && data[3] == 'n' && data[4] == 'd'){
			handleIncomingData(data,len,current);
		  packetNumberUsb = 0;
		}
		else if(len == 6 && data[0] == 's' && data[1] == 'r' && data[3] == 'e' && data[4] == 'n' && data[5] == 'd'){
			handleIncomingData(data,len,resistor);
		  packetNumberUsb = 0;
		}
		else if(len == 6 && data[0] == 's' && data[1] == 'c' && data[3] == 'e' && data[4] == 'n' && data[5] == 'd'){
			handleIncomingData(data,len,capacitor);
		  packetNumberUsb = 0;
		}
		else if(len == 21 && data[0] == 's' && data[1] == 'a' && data[18] == 'e' && data[19] == 'n' && data[20] == 'd'){
			handleIncomingData(data,len,analog);
		  packetNumberUsb = 0;
		}
		else if(len == 21 && data[0] == 's' && data[1] == 'd' && data[18] == 'e' && data[19] == 'n' && data[20] == 'd'){
			handleIncomingData(data,len,digital);
		  packetNumberUsb = 0;
		}
		else if(len == 10 && data[0] == 's' && data[1] == 'v' && data[7] == 'e' && data[8] == 'n' && data[9] == 'd'){
			handleIncomingData(data,len,voltageOut);
		  packetNumberUsb = 0;
		}
		else if(len == 19&& data[0] == 's' && data[1] == 'w' && data[16] == 'e' && data[17] == 'n' && data[18] == 'd'){
			handleIncomingData(data,len,dac);
		  packetNumberUsb = 0;
		}
	}
}

//
//usb data
void CDC_ReceiveCallBack(uint8_t *buf,uint32_t len){
	checkForIncomingData(buf,len,usb);
}

//
//esp data
void HAL_UART_RxCpltCallback(UART_HandleTypeDef *huart){
	if(huart == &huart4){
		wifiData[wifiDataLength] = wifiChar;
		wifiDataLength++;
		checkForIncomingData(wifiData,wifiDataLength,wifi);
		HAL_UART_Receive_IT(&huart4,&wifiChar,1);
	}
}

//
//ADC callback
void HAL_ADC_ConvCpltCallback(ADC_HandleTypeDef* hadc){

	if (hadc == &hadc1){
		analogDataReadyCh1 = 1;
		tempADC1++;
	}
	else if(hadc == &hadc2){
		analogDataReadyCh2 = 1;
		tempADC2++;
	}
	else if(hadc == &hadc3&& dataMode != digital && dataMode != analog && dataMode != noData){
		adcMeasureReady = 1;

	}
}
//
/* USER CODE END 0 */

int main(void)
{

  /* MCU Configuration--------------------------------------------------------*/

  /* Reset of all peripherals, Initializes the Flash interface and the Systick. */
  HAL_Init();

  /* Configure the system clock */
  SystemClock_Config();

  /* Initialize all configured peripherals */
  MX_GPIO_Init();
  MX_DMA_Init();
  MX_TIM1_Init();
  MX_ADC1_Init();
  MX_TIM2_Init();
  MX_USB_DEVICE_Init();
  MX_DAC_Init();
  MX_TIM3_Init();
  MX_USART1_UART_Init();
  MX_UART4_Init();
  MX_ADC3_Init();
  MX_TIM4_Init();
  MX_TIM8_Init();
  MX_ADC2_Init();
  MX_TIM6_Init();
  MX_TIM7_Init();
  /* USER CODE BEGIN 2 */
	HAL_TIM_Base_Start_IT(&htim1);
	HAL_TIM_Base_Start_IT(&htim4);
	//HAL_TIM_Base_Start_IT(&htim8);

	HAL_TIM_Base_Start_IT(&htim2);
	HAL_TIM_PWM_Start(&htim2,TIM_CHANNEL_1);
	HAL_TIM_PWM_Start(&htim2,TIM_CHANNEL_2);
	HAL_TIM_PWM_Start(&htim2,TIM_CHANNEL_3);
	HAL_TIM_PWM_Start(&htim2,TIM_CHANNEL_4);
	htim2.Instance->CCR1 =  50;
	htim2.Instance->CCR2 =  99;
	htim2.Instance->CCR3 =  20;
	htim2.Instance->CCR4 =  50;

	HAL_UART_Receive_IT(&huart4,&wifiChar,1);

	makeWaveDac(&hdac,DAC_CHANNEL_1,&htim3,rect,64,128);

	//HAL_TIM_Base_Start_IT(&htim3);
	//tempAshk = value_dac16[10];
	//HAL_DAC_Start_DMA(&hdac, DAC_CHANNEL_1, (uint32_t *)value_dac16 , 1, DAC_ALIGN_12B_R);

	//////init default value

  /* USER CODE END 2 */

  /* Infinite loop */
  /* USER CODE BEGIN WHILE */
		//HAL_TIM_Base_Stop_IT(&htim1);

		//(&htim8)->Instance->PSC = 719;
		//(&htim3)->Init.Period = 9999;
		//(&htim3)->Instance->ARR = 9999;
		//__HAL_TIM_CLEAR_IT(&htim3 ,TIM_IT_UPDATE);
		//HAL_TIM_Base_Start_IT(&htim3);

  while (1)
  {
		//startAdcInput();
		//makeWaveDac(&hdac , DAC_CHANNEL_1 , sinusoidal);

		if(dataMode == analog){
			int ch1Div,ch2Div,ch3Div,ch4Div;
			int ch1Base,ch2Base,ch3Base,ch4Base;
			int length;

			if(analogDataReadyCh1 == 1 || analogDataReadyCh2 == 1){
				ch1Div = lroundf((float)analogBytesMax[0]/(float)analogBytes[0]);
				ch2Div = lroundf((float)analogBytesMax[0]/(float)analogBytes[1]);
				ch3Div = lroundf((float)analogBytesMax[1]/(float)analogBytes[2]);
				ch4Div = lroundf((float)analogBytesMax[1]/(float)analogBytes[3]);

				analogBytes[0] = analogBytesMax[0]/ch1Div;
				analogBytes[1] = analogBytesMax[0]/ch2Div;
				analogBytes[2] = analogBytesMax[1]/ch3Div;
				analogBytes[3] = analogBytesMax[1]/ch4Div;

				ch1Base = 4;
				ch2Base = ch1Base+analogBytes[0]*4+2; //channel byteNumber
				ch3Base = ch2Base+analogBytes[1]*4+2; //channe2 byteNumber
				ch4Base = ch3Base+analogBytes[2]*4+2; //channe3 byteNumber

				length = analogBytes[0]*4+analogBytes[1]*4+analogBytes[2]*4+analogBytes[3]*4;
				length += 13; //this 13 is for s,e,n,d,packetNumber,channel byteNumber

			}

			if(analogDataReadyCh1 == 1){
				uint16_t analogByteADC1Ch2[501];
				uint16_t analogByteADC1Ch1[501];
				for(int i=0 ; i<1000 ; i++){
						if(i%2 == 0)
							analogByteADC1Ch1[i/2] = analogByteADC1[i];
						else
							analogByteADC1Ch2[i/2] = analogByteADC1[i];
					}
				analogDataReadyCh1=0;

				if(analogDataNumberADC1 < 3){
					if(analogBytesMax[0]%2 == 0){
					HAL_ADC_Start_DMA(&hadc1, analogByteADC1, analogBytesMax[0]);
					}
					else if(analogBytesMax[0]%2 == 1){
						if(analogOddNumberADC1%2 == 0)
							HAL_ADC_Start_DMA(&hadc1, analogByteADC1, analogBytesMax[0]+1);
					else
						HAL_ADC_Start_DMA(&hadc1, analogByteADC1, analogBytesMax[0]-1);
					analogOddNumberADC1++;
					analogOddNumberADC1%=2;
					}
			}

				if(analogDataNumberADC1 < 4){
					union Convert convert;

					if (sendData[writingSendDataIndex].readySend == 0){

						convert.integer2_temp = analogBytes[0]*4;
						sendData[writingSendDataIndex].bytes[ch1Base-2] = convert.char_temp[0];
						sendData[writingSendDataIndex].bytes[ch1Base-1] = convert.char_temp[1];

						convert.integer2_temp = analogBytes[1]*4;
						sendData[writingSendDataIndex].bytes[ch2Base-2] = convert.char_temp[0];
						sendData[writingSendDataIndex].bytes[ch2Base-1] = convert.char_temp[1];

						///////ADC1 set sending data index variables
						int index = analogBytesMax[0];
						int channel1Index = (analogDataNumberADC1*analogBytes[0])/2;
						int channel2Index = (analogDataNumberADC1*analogBytes[1])/2;
						if (index%2 == 0) index/=2;
						else if(analogDataNumberADC1%2 == 0) index=(index+1)/2;
						else if(analogDataNumberADC1%2 == 1){ index=(index-1)/2; channel1Index+=1; channel2Index+=1;}
						test1++;

						for(int i=0 ; i < index ; i++){ ///this is for adc1 channel 1
								if((channel1Index+i)%ch1Div == 0){
									convert.integer2_temp = analogByteADC1Ch1[i];
									sendData[writingSendDataIndex].bytes[ch1Base+2*(channel1Index+i)/ch1Div]   = convert.char_temp[0];
									sendData[writingSendDataIndex].bytes[ch1Base+2*(channel1Index+i)/ch1Div+1] = convert.char_temp[1];
								}
						}
						for(int i=0 ; i < index ; i++){ ///this is for adc1 channel 2
								if((channel2Index+i)%ch2Div == 0){
									convert.integer2_temp = analogByteADC1Ch2[i];
									sendData[writingSendDataIndex].bytes[ch2Base+2*(channel2Index+i)/ch2Div] = convert.char_temp[0];
									sendData[writingSendDataIndex].bytes[ch2Base+2*(channel2Index+i)/ch2Div+1] = convert.char_temp[1];
								}
						}
				}

					analogDataNumberADC1++;
				}
			}

			if(analogDataReadyCh2 == 1){
				uint16_t analogByteADC2Ch1[501];
				uint16_t analogByteADC2Ch2[501];
				for(int i=0 ; i<1000 ; i++){
					if(i%2 == 0)
						analogByteADC2Ch1[i/2] = analogByteADC2[i];
				else
						analogByteADC2Ch2[i/2] = analogByteADC2[i];
				}
				analogDataReadyCh2 = 0;

				if(analogDataNumberADC2 < 3){
					if(analogBytesMax[1]%2 == 0){
								HAL_ADC_Start_DMA(&hadc2, analogByteADC2, analogBytesMax[1]);
						}
						else if(analogBytesMax[1]%2 == 1){
							if(analogOddNumberADC2%2 == 0)
								HAL_ADC_Start_DMA(&hadc2, analogByteADC2, analogBytesMax[1]+1);
						else
							HAL_ADC_Start_DMA(&hadc2, analogByteADC2, analogBytesMax[1]-1);
						analogOddNumberADC2++;
						analogOddNumberADC2%=2;
						}
				}

				if(analogDataNumberADC2 < 4){
					union Convert convert;

					if (sendData[writingSendDataIndex].readySend == 0){

						convert.integer2_temp = analogBytes[2]*4;
						sendData[writingSendDataIndex].bytes[ch3Base-2] = convert.char_temp[0];
						sendData[writingSendDataIndex].bytes[ch3Base-1] = convert.char_temp[1];

						convert.integer2_temp = analogBytes[3]*4;
						sendData[writingSendDataIndex].bytes[ch4Base-2] = convert.char_temp[0];
						sendData[writingSendDataIndex].bytes[ch4Base-1] = convert.char_temp[1];

						///////ADC2 set sending data index variables
						int index = analogBytesMax[1];
						int channel3Index = analogDataNumberADC2*analogBytes[2]/2;
						int channel4Index = analogDataNumberADC2*analogBytes[3]/2;
						if (index%2 == 0) index/=2;
						else if(analogDataNumberADC2%2 == 0) index=(index+1)/2;
						else if(analogDataNumberADC2%2 == 1){ index=(index-1)/2; channel3Index+=1; channel4Index+=1;}
						test2++;

						for(int i=0 ; i < index ; i++){///this is for adc2 channel 1
								if((channel3Index+i)%ch3Div == 0){
									convert.integer2_temp = analogByteADC2Ch1[i];
									sendData[writingSendDataIndex].bytes[ch3Base+2*(channel3Index+i)/ch3Div]   = convert.char_temp[0];
									sendData[writingSendDataIndex].bytes[ch3Base+2*(channel3Index+i)/ch3Div+1] = convert.char_temp[1];
								}
						}
						for(int i=0 ; i < index ; i++){///this is for adc2 channel 2
								if((channel4Index+i)%ch4Div == 0){
									convert.integer2_temp = analogByteADC2Ch2[i];
									sendData[writingSendDataIndex].bytes[ch4Base+2*(channel4Index+i)/ch4Div]   = convert.char_temp[0];
									sendData[writingSendDataIndex].bytes[ch4Base+2*(channel4Index+i)/ch4Div+1] = convert.char_temp[1];
								}
						}
				}

				analogDataNumberADC2++;
				}
			}

			if(analogDataNumberADC1 == 4 && analogDataNumberADC2 == 4){
				if (sendData[writingSendDataIndex].readySend == 0){
						sendData[writingSendDataIndex].length = length;
						sendData[writingSendDataIndex].bytes[0] = 's';
						sendData[writingSendDataIndex].bytes[length-3] = 'e';
						sendData[writingSendDataIndex].bytes[length-2] = 'n';
						sendData[writingSendDataIndex].bytes[length-1] = 'd';
						sendData[writingSendDataIndex].readySend = 1;
						writingSendDataIndex++;
						writingSendDataIndex %= 2;
						analogDataNumberADC1 = 0;
						analogDataNumberADC2 = 0;

						if(analogBytesMax[0]%2 == 0){
							HAL_ADC_Start_DMA(&hadc1, analogByteADC1, analogBytesMax[0]);
						}
						else if(analogBytesMax[0]%2 == 1){
							if(analogOddNumberADC1%2 == 0)
								HAL_ADC_Start_DMA(&hadc1, analogByteADC1, analogBytesMax[0]+1);
						else
								HAL_ADC_Start_DMA(&hadc1, analogByteADC1, analogBytesMax[0]-1);
								analogOddNumberADC1++;
								analogOddNumberADC1%=2;
							}

						if(analogBytesMax[1]%2 == 0){
							HAL_ADC_Start_DMA(&hadc2, analogByteADC2, analogBytesMax[1]);
						}
						else if(analogBytesMax[1]%2 == 1){
							if(analogOddNumberADC2%2 == 0)
								HAL_ADC_Start_DMA(&hadc2, analogByteADC2, analogBytesMax[1]+1);
						else
							HAL_ADC_Start_DMA(&hadc2, analogByteADC2, analogBytesMax[1]-1);
						analogOddNumberADC2++;
						analogOddNumberADC2%=2;
						}

				}
			}
		}

		else if(dataMode == digital){
			union Convert convert;
			uint8_t digitalByteCH1Cpy[1001],digitalByteCH2Cpy[1001],digitalByteCH3Cpy[1001],digitalByteCH4Cpy[1001];

			///copy data digital and release arrays
			if(digitalDataReady == 1){
				for(int i=0 ; i < digitalBytesMax ; i++){
							digitalByteCH1Cpy[i] = digitalByteCH1[i];
				}
				for(int i=0 ; i < digitalBytesMax ; i++){
							digitalByteCH2Cpy[i] = digitalByteCH2[i];
				}
				for(int i=0 ; i < digitalBytesMax ; i++){
							digitalByteCH3Cpy[i] = digitalByteCH3[i];
				}
				for(int i=0 ; i < digitalBytesMax ; i++){
							digitalByteCH4Cpy[i] = digitalByteCH4[i];
				}
				digitalDataReady = 0;

				int ch1Div = lroundf((float)digitalBytesMax/(float)digitalBytes[0]);
				int ch2Div = lroundf((float)digitalBytesMax/(float)digitalBytes[1]);
				int ch3Div = lroundf((float)digitalBytesMax/(float)digitalBytes[2]);
				int ch4Div = lroundf((float)digitalBytesMax/(float)digitalBytes[3]);

				digitalBytes[0] = digitalBytesMax/ch1Div;
				digitalBytes[1] = digitalBytesMax/ch2Div;
				digitalBytes[2] = digitalBytesMax/ch3Div;
				digitalBytes[3] = digitalBytesMax/ch4Div;
				int ch1Base = 4;
				int ch2Base = ch1Base+digitalBytes[0]+2; //channel2 byteNumber
				int ch3Base = ch2Base+digitalBytes[1]+2; //channel3 byteNumber
				int ch4Base = ch3Base+digitalBytes[2]+2; //channel4 byteNumber

				int length = digitalBytes[0]+digitalBytes[1]+digitalBytes[2]+digitalBytes[3];
				length += 13; //this 13 is for s,e,n,d,packetNumber,channel byteNumber

				if (sendData[writingSendDataIndex].readySend == 0){
				sendData[writingSendDataIndex].length = length;
				sendData[writingSendDataIndex].bytes[0] = 's';
				sendData[writingSendDataIndex].bytes[length-3] = 'e';
				sendData[writingSendDataIndex].bytes[length-2] = 'n';
				sendData[writingSendDataIndex].bytes[length-1] = 'd';

				convert.integer2_temp = digitalBytes[0];
				sendData[writingSendDataIndex].bytes[ch1Base-2] = convert.char_temp[0];
				sendData[writingSendDataIndex].bytes[ch1Base-1] = convert.char_temp[1];

				convert.integer2_temp = digitalBytes[1];
				sendData[writingSendDataIndex].bytes[ch2Base-2] = convert.char_temp[0];
				sendData[writingSendDataIndex].bytes[ch2Base-1] = convert.char_temp[1];

				convert.integer2_temp = digitalBytes[2];
				sendData[writingSendDataIndex].bytes[ch3Base-2] = convert.char_temp[0];
				sendData[writingSendDataIndex].bytes[ch3Base-1] = convert.char_temp[1];

				convert.integer2_temp = digitalBytes[3];
				sendData[writingSendDataIndex].bytes[ch4Base-2] = convert.char_temp[0];
				sendData[writingSendDataIndex].bytes[ch4Base-1] = convert.char_temp[1];

				for(int i=0 ; i < digitalBytesMax ; i++){
						if(i%ch1Div == 0){
							sendData[writingSendDataIndex].bytes[ch1Base+i/ch1Div] = digitalByteCH1Cpy[i];
						}
				}
				for(int i=0 ; i < digitalBytesMax ; i++){
						if(i%ch2Div == 0){
							sendData[writingSendDataIndex].bytes[ch2Base+i/ch2Div] = digitalByteCH2Cpy[i];
						}
				}
				for(int i=0 ; i < digitalBytesMax ; i++){
						if(i%ch3Div == 0){
							sendData[writingSendDataIndex].bytes[ch3Base+i/ch3Div] = digitalByteCH3Cpy[i];
						}
				}
				for(int i=0 ; i < digitalBytesMax ; i++){
						if(i%ch4Div == 0){
							sendData[writingSendDataIndex].bytes[ch4Base+i/ch4Div] = digitalByteCH4Cpy[i];
						}
				}
				sendData[writingSendDataIndex].readySend = 1;
				writingSendDataIndex++;
				writingSendDataIndex %= 2;
			}
			}
			HAL_Delay(1);
		}
		else if(dataMode == connection){
			uint16_t adcValue = connectionCheck(&hadc3);

			char tempData[7];
			tempData[0] = 's';
			tempData[4] = 'e';
			tempData[5] = 'n';
			tempData[6] = 'd';

			union Convert convert;
			convert.integer2_temp = adcValue;
			tempData[2] = convert.char_temp[0];
			tempData[3] = convert.char_temp[1];

			if (sendData[writingSendDataIndex].readySend == 0){
				sendData[writingSendDataIndex].length = 7;
				//sendData[writingSendDataIndex].bytes = tempData;
				memcpy(sendData[writingSendDataIndex].bytes , tempData , sendData[writingSendDataIndex].length);
				sendData[writingSendDataIndex].readySend = 1;
				writingSendDataIndex++;
				writingSendDataIndex %= 2;
			}

			HAL_Delay(100);

		}
		else if(dataMode == resistor){
			uint16_t adcValue = resistorCheck(&hadc3);

			char tempData[7];
			tempData[0] = 's';
			tempData[4] = 'e';
			tempData[5] = 'n';
			tempData[6] = 'd';

			union Convert convert;
			convert.integer2_temp = adcValue;
			tempData[2] = convert.char_temp[0];
			tempData[3] = convert.char_temp[1];

			if (sendData[writingSendDataIndex].readySend == 0){
				sendData[writingSendDataIndex].length = 7;
				//sendData[writingSendDataIndex].bytes = tempData;
				memcpy(sendData[writingSendDataIndex].bytes , tempData , sendData[writingSendDataIndex].length);
				sendData[writingSendDataIndex].readySend = 1;
				writingSendDataIndex++;
				writingSendDataIndex %= 2;
			}

			HAL_Delay(5000);
		}
		else if(dataMode == capacitor){
			uint16_t adcValue = capacitorCheck(&hadc3);

			char tempData[7];
			tempData[0] = 's';
			tempData[4] = 'e';
			tempData[5] = 'n';
			tempData[6] = 'd';

			union Convert convert;
			convert.integer2_temp = adcValue;
			tempData[2] = convert.char_temp[0];
			tempData[3] = convert.char_temp[1];

			if (sendData[writingSendDataIndex].readySend == 0){
				sendData[writingSendDataIndex].length = 7;
				//sendData[writingSendDataIndex].bytes = tempData;
				memcpy(sendData[writingSendDataIndex].bytes , tempData , sendData[writingSendDataIndex].length);
				sendData[writingSendDataIndex].readySend = 1;
				writingSendDataIndex++;
				writingSendDataIndex %= 2;
			}

			HAL_Delay(5000);
		}
		else if(dataMode == diode){
			uint16_t adcValue = diodeCheck(&hadc3);

			char tempData[7];
			tempData[0] = 's';
			tempData[4] = 'e';
			tempData[5] = 'n';
			tempData[6] = 'd';

			union Convert convert;
			convert.integer2_temp = adcValue;
			tempData[2] = convert.char_temp[0];
			tempData[3] = convert.char_temp[1];

			if (sendData[writingSendDataIndex].readySend == 0){
				sendData[writingSendDataIndex].length = 7;
				//sendData[writingSendDataIndex].bytes = tempData;
				memcpy(sendData[writingSendDataIndex].bytes , tempData , sendData[writingSendDataIndex].length);
				sendData[writingSendDataIndex].readySend = 1;
				writingSendDataIndex++;
				writingSendDataIndex %= 2;
			}

			HAL_Delay(100);
		}
		else if(dataMode == current){
			uint16_t adcValue = currentCheck(&hadc3);

			char tempData[7];
			tempData[0] = 's';
			tempData[4] = 'e';
			tempData[5] = 'n';
			tempData[6] = 'd';

			union Convert convert;
			convert.integer2_temp = adcValue;
			tempData[2] = convert.char_temp[0];
			tempData[3] = convert.char_temp[1];

			if (sendData[writingSendDataIndex].readySend == 0){
				sendData[writingSendDataIndex].length = 7;
				//sendData[writingSendDataIndex].bytes = tempData;
				memcpy(sendData[writingSendDataIndex].bytes , tempData , sendData[writingSendDataIndex].length);
				sendData[writingSendDataIndex].readySend = 1;
				writingSendDataIndex++;
				writingSendDataIndex %= 2;
			}

			HAL_Delay(100);
		}

		//setPwm(0,60);
    /* USER CODE END WHILE */

  }
}

void SystemClock_Config(void)
{
  RCC_OscInitTypeDef RCC_OscInitStruct = {0};
  RCC_ClkInitTypeDef RCC_ClkInitStruct = {0};
  RCC_PeriphCLKInitTypeDef PeriphClkInit = {0};

  /** Initializes the RCC Oscillators according to the specified parameters
  * in the RCC_OscInitTypeDef structure.
  */
  RCC_OscInitStruct.OscillatorType = RCC_OSCILLATORTYPE_HSE;
  RCC_OscInitStruct.HSEState = RCC_HSE_ON;
  RCC_OscInitStruct.HSEPredivValue = RCC_HSE_PREDIV_DIV1;
  RCC_OscInitStruct.HSIState = RCC_HSI_ON;
  RCC_OscInitStruct.PLL.PLLState = RCC_PLL_ON;
  RCC_OscInitStruct.PLL.PLLSource = RCC_PLLSOURCE_HSE;
  RCC_OscInitStruct.PLL.PLLMUL = RCC_PLL_MUL9;
  if (HAL_RCC_OscConfig(&RCC_OscInitStruct) != HAL_OK)
  {
    Error_Handler();
  }
  /** Initializes the CPU, AHB and APB buses clocks
  */
  RCC_ClkInitStruct.ClockType = RCC_CLOCKTYPE_HCLK|RCC_CLOCKTYPE_SYSCLK
                              |RCC_CLOCKTYPE_PCLK1|RCC_CLOCKTYPE_PCLK2;
  RCC_ClkInitStruct.SYSCLKSource = RCC_SYSCLKSOURCE_PLLCLK;
  RCC_ClkInitStruct.AHBCLKDivider = RCC_SYSCLK_DIV1;
  RCC_ClkInitStruct.APB1CLKDivider = RCC_HCLK_DIV2;
  RCC_ClkInitStruct.APB2CLKDivider = RCC_HCLK_DIV1;

  if (HAL_RCC_ClockConfig(&RCC_ClkInitStruct, FLASH_LATENCY_2) != HAL_OK)
  {
    Error_Handler();
  }
  PeriphClkInit.PeriphClockSelection = RCC_PERIPHCLK_USB|RCC_PERIPHCLK_USART1
                              |RCC_PERIPHCLK_UART4|RCC_PERIPHCLK_TIM1
                              |RCC_PERIPHCLK_TIM8|RCC_PERIPHCLK_ADC12
                              |RCC_PERIPHCLK_ADC34;
  PeriphClkInit.Usart1ClockSelection = RCC_USART1CLKSOURCE_PCLK2;
  PeriphClkInit.Uart4ClockSelection = RCC_UART4CLKSOURCE_PCLK1;
  PeriphClkInit.Adc12ClockSelection = RCC_ADC12PLLCLK_DIV1;
  PeriphClkInit.Adc34ClockSelection = RCC_ADC34PLLCLK_DIV1;
  PeriphClkInit.USBClockSelection = RCC_USBCLKSOURCE_PLL_DIV1_5;
  PeriphClkInit.Tim1ClockSelection = RCC_TIM1CLK_HCLK;
  PeriphClkInit.Tim8ClockSelection = RCC_TIM8CLK_HCLK;
  if (HAL_RCCEx_PeriphCLKConfig(&PeriphClkInit) != HAL_OK)
  {
    Error_Handler();
  }
}

void Error_Handler(void)
{
}

/************************ (C) COPYRIGHT STMicroelectronics *****END OF FILE****/
